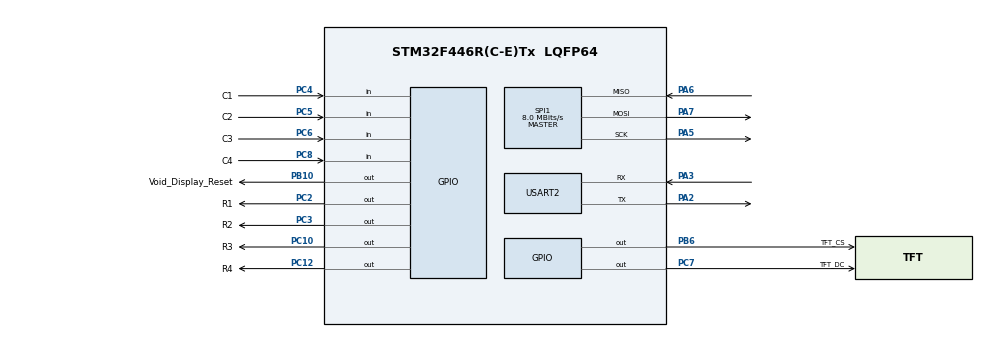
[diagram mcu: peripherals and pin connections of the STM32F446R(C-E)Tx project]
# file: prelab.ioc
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Dma.Request0=SPI1_TX
Dma.SPI1_TX.0.Direction=DMA_MEMORY_TO_PERIPH
Dma.SPI1_TX.0.FIFOMode=DMA_FIFOMODE_DISABLE
Dma.SPI1_TX.0.Instance=DMA2_Stream3
Dma.SPI1_TX.0.MemDataAlignment=DMA_MDATAALIGN_BYTE
Dma.SPI1_TX.0.MemInc=DMA_MINC_ENABLE
Dma.SPI1_TX.0.Mode=DMA_NORMAL
Dma.SPI1_TX.0.PeriphDataAlignment=DMA_PDATAALIGN_BYTE
Dma.SPI1_TX.0.PeriphInc=DMA_PINC_DISABLE
Dma.SPI1_TX.0.Priority=DMA_PRIORITY_LOW
Mcu.Family=STM32F4
Mcu.Name=STM32F446R(C-E)Tx
Mcu.Package=LQFP64
NVIC.DMA2_Stream3_IRQn=true\:0\:0\:false\:false\:true\:false\:true\:true
NVIC.PriorityGroup=NVIC_PRIORITYGROUP_4
NVIC.SPI1_IRQn=true\:0\:0\:false\:false\:true\:true\:true\:true
PA2.Mode=Asynchronous
PA2.Signal=USART2_TX
PA3.Mode=Asynchronous
PA3.Signal=USART2_RX
PA5.Mode=Full_Duplex_Master
PA5.Signal=SPI1_SCK
PA6.Mode=Full_Duplex_Master
PA6.Signal=SPI1_MISO
PA7.Mode=Full_Duplex_Master
PA7.Signal=SPI1_MOSI
PB10.GPIO_Label=Void_Display_Reset
PB10.Signal=GPIO_Output
PB6.GPIO_Label=TFT_CS
PB6.Signal=GPIO_Output
PC10.GPIO_Label=R3
PC10.Signal=GPIO_Output
PC12.GPIO_Label=R4
PC12.Signal=GPIO_Output
PC14-OSC32_IN.Mode=LSE-External-Oscillator
PC14-OSC32_IN.Signal=RCC_OSC32_IN
PC15-OSC32_OUT.Mode=LSE-External-Oscillator
PC15-OSC32_OUT.Signal=RCC_OSC32_OUT
PC2.GPIO_Label=R1
PC2.Signal=GPIO_Output
PC3.GPIO_Label=R2
PC3.Signal=GPIO_Output
PC4.GPIO_Label=C1
PC4.Signal=GPIO_Input
PC5.GPIO_Label=C2
PC5.Signal=GPIO_Input
PC6.GPIO_Label=C3
PC6.Signal=GPIO_Input
PC7.GPIO_Label=TFT_DC
PC7.Signal=GPIO_Output
PC8.GPIO_Label=C4
PC8.Signal=GPIO_Input
PH0-OSC_IN.Mode=HSE-External-Oscillator
PH0-OSC_IN.Signal=RCC_OSC_IN
PH1-OSC_OUT.Mode=HSE-External-Oscillator
PH1-OSC_OUT.Signal=RCC_OSC_OUT
ProjectManager.HeapSize=0x200
ProjectManager.StackSize=0x400
ProjectManager.TargetToolchain=MDK-ARM V5.32
RCC.CortexFreq_Value=16000000
RCC.USBFreq_Value=96000000
RCC.VCOOutputFreq_Value=192000000
SPI1.CalculateBaudRate=8.0 MBits/s
SPI1.Direction=SPI_DIRECTION_2LINES
SPI1.Mode=SPI_MODE_MASTER
SPI1.VirtualType=VM_MASTER
USART2.VirtualMode=VM_ASYNC
board=custom

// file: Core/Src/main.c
/* USER CODE BEGIN Header */
/**
 ******************************************************************************
 * @file           : main.c
 * @brief          : Main program body
 ******************************************************************************
 * @attention
 *
 * Copyright (c) 2024 STMicroelectronics.
 * All rights reserved.
 *
 * This software is licensed under terms that can be found in the LICENSE file
 * in the root directory of this software component.
 * If no LICENSE file comes with this software, it is provided AS-IS.
 *
 ******************************************************************************
 */
/* USER CODE END Header */
#include "main.h"
#include "dma.h"
#include "gpio.h"
#include "spi.h"
#include "usart.h"

/* USER CODE BEGIN Includes */
#include "stdio.h"

#include "ili9341.h"
#include "ili9341_gfx.h"
/* USER CODE END Includes */

/* USER CODE BEGIN PTD */
enum Button {
  B1 = 0,
  B2,
  B3,
  BA,
  B4,
  B5,
  B6,
  BB,
  B7,
  B8,
  B9,
  BC,
  BSTAR,
  B0,
  BDASH,
  BD
};
/* USER CODE END PTD */

/* USER CODE BEGIN PV */
ili9341_t *_screen;
/* USER CODE END PV */

void SystemClock_Config(void);

/* USER CODE BEGIN 0 */
void selectRow(int r) {
  if (r == 1)
    HAL_GPIO_WritePin(R1_GPIO_Port, R1_Pin, GPIO_PIN_RESET);
  else
    HAL_GPIO_WritePin(R1_GPIO_Port, R1_Pin, GPIO_PIN_SET);
  if (r == 2)
    HAL_GPIO_WritePin(R2_GPIO_Port, R2_Pin, GPIO_PIN_RESET);
  else
    HAL_GPIO_WritePin(R2_GPIO_Port, R2_Pin, GPIO_PIN_SET);
  if (r == 3)
    HAL_GPIO_WritePin(R3_GPIO_Port, R3_Pin, GPIO_PIN_RESET);
  else
    HAL_GPIO_WritePin(R3_GPIO_Port, R3_Pin, GPIO_PIN_SET);
  if (r == 4)
    HAL_GPIO_WritePin(R4_GPIO_Port, R4_Pin, GPIO_PIN_RESET);
  else
    HAL_GPIO_WritePin(R4_GPIO_Port, R4_Pin, GPIO_PIN_SET);
}

char readCol() {
  int result = 0;
  if (HAL_GPIO_ReadPin(C1_GPIO_Port, C1_Pin) == GPIO_PIN_RESET)
    result += 1;
  if (HAL_GPIO_ReadPin(C2_GPIO_Port, C2_Pin) == GPIO_PIN_RESET)
    result += 4;
  if (HAL_GPIO_ReadPin(C3_GPIO_Port, C3_Pin) == GPIO_PIN_RESET)
    result += 16;
  if (HAL_GPIO_ReadPin(C4_GPIO_Port, C4_Pin) == GPIO_PIN_RESET)
    result += 64;
  return result;
}

unsigned int poll_keyboard_state(unsigned int prev_state) {
  prev_state &= 0x55555555;
  prev_state <<= 1;
  unsigned int state = 0;
  for (int i = 4; i != 0; i--) {
    selectRow(4);
    HAL_Delay(10);
    state <<= 8;
    state |= readCol();
  }
  return state | prev_state;
}

char get_button(enum Button b, unsigned int k_state) {
  unsigned int mask = 1;
  mask <<= (b * 2);
  return ((k_state & mask) != 0);
}

char get_button_held(enum Button b, unsigned int k_state) {
  unsigned int mask = 0b11;
  mask <<= (b * 2);
  return ((k_state & mask) != 0);
}

char get_button_up(enum Button b, unsigned int k_state) {
  k_state ^= 0x55555555;
  unsigned int mask = 0b10;
  mask <<= (b * 2);
  return ((k_state & mask) != 0);
}

char get_button_down(enum Button b, unsigned int k_state) {
  k_state ^= 0xAAAAAAAA;
  unsigned int mask = 1;
  mask <<= (b * 2);
  return ((k_state & mask) != 0);
}

int fputc(int ch, FILE *f) {
  HAL_UART_Transmit(&huart2, (uint8_t *)&ch, 1, 0xFFFF);
  return ch;
}
/* USER CODE END 0 */

int main(void) {

  /* MCU Configuration--------------------------------------------------------*/

  /* Reset of all peripherals, Initializes the Flash interface and the Systick.
   */
  HAL_Init();

  /* Configure the system clock */
  SystemClock_Config();

  /* Initialize all configured peripherals */
  MX_GPIO_Init();
  MX_DMA_Init();
  MX_SPI1_Init();
  MX_USART2_UART_Init();
  /* USER CODE BEGIN 2 */
  _screen = ili9341_new(&hspi1, Void_Display_Reset_GPIO_Port,
                        Void_Display_Reset_Pin, TFT_CS_GPIO_Port, TFT_CS_Pin,
                        TFT_DC_GPIO_Port, TFT_DC_Pin, isoLandscape, NULL, NULL,
                        NULL, NULL, itsNotSupported, itnNormalized);
  ili9341_fill_screen(_screen, ILI9341_BLACK);
  ili9341_draw_line(_screen, ILI9341_YELLOW, 50, 200, 200, 200);
  ili9341_draw_rect(_screen, ILI9341_BLUE, 40, 40, 50, 100);
  ili9341_draw_circle(_screen, ILI9341_RED, 250, 100, 50);
  ili9341_text_attr_t text_attr = {&ili9341_font_11x18, ILI9341_WHITE,
                                   ILI9341_BLACK, 0, 0};
  char text[] = {"! Hello !"};
  ili9341_draw_string(_screen, text_attr, text);
  /* USER CODE END 2 */

  /* Infinite loop */
  while (1) {
    selectRow(1);
    HAL_Delay(10);
    int row1 = readCol();
    printf("Row 1 : %x\r\n", row1);
    selectRow(2);
    HAL_Delay(10);
    int row2 = readCol();
    printf("Row 2 : %x\r\n", row2);
    selectRow(3);
    HAL_Delay(10);
    int row3 = readCol();
    printf("Row 3 : %x\r\n", row3);
    selectRow(4);
    HAL_Delay(10);
    int row4 = readCol();
    printf("Row 4 : %x\r\n", row4);
    HAL_Delay(1000);
  }
}

void SystemClock_Config(void) {
  RCC_OscInitTypeDef RCC_OscInitStruct = {0};
  RCC_ClkInitTypeDef RCC_ClkInitStruct = {0};

  /** Configure the main internal regulator output voltage
   */
  __HAL_RCC_PWR_CLK_ENABLE();
  __HAL_PWR_VOLTAGESCALING_CONFIG(PWR_REGULATOR_VOLTAGE_SCALE3);

  /** Initializes the RCC Oscillators according to the specified parameters
   * in the RCC_OscInitTypeDef structure.
   */
  RCC_OscInitStruct.OscillatorType = RCC_OSCILLATORTYPE_HSI;
  RCC_OscInitStruct.HSIState = RCC_HSI_ON;
  RCC_OscInitStruct.HSICalibrationValue = RCC_HSICALIBRATION_DEFAULT;
  RCC_OscInitStruct.PLL.PLLState = RCC_PLL_NONE;
  if (HAL_RCC_OscConfig(&RCC_OscInitStruct) != HAL_OK) {
    Error_Handler();
  }

  /** Initializes the CPU, AHB and APB buses clocks
   */
  RCC_ClkInitStruct.ClockType = RCC_CLOCKTYPE_HCLK | RCC_CLOCKTYPE_SYSCLK |
                                RCC_CLOCKTYPE_PCLK1 | RCC_CLOCKTYPE_PCLK2;
  RCC_ClkInitStruct.SYSCLKSource = RCC_SYSCLKSOURCE_HSI;
  RCC_ClkInitStruct.AHBCLKDivider = RCC_SYSCLK_DIV1;
  RCC_ClkInitStruct.APB1CLKDivider = RCC_HCLK_DIV1;
  RCC_ClkInitStruct.APB2CLKDivider = RCC_HCLK_DIV1;

  if (HAL_RCC_ClockConfig(&RCC_ClkInitStruct, FLASH_LATENCY_0) != HAL_OK) {
    Error_Handler();
  }
}

void Error_Handler(void) {
  __disable_irq();
  while (1) {
  }
}

#ifdef USE_FULL_ASSERT
/**
 * @brief  Reports the name of the source file and the source line number
 *         where the assert_param error has occurred.
 * @param  file: pointer to the source file name
 * @param  line: assert_param error line source number
 * @retval None
 */
void assert_failed(uint8_t *file, uint32_t line) {
  /* USER CODE BEGIN 6 */
  /* User can add his own implementation to report the file name and line
     number,
     ex: printf("Wrong parameters value: file %s on line %d\r\n", file, line) */
  /* USER CODE END 6 */
}
#endif /* USE_FULL_ASSERT */
